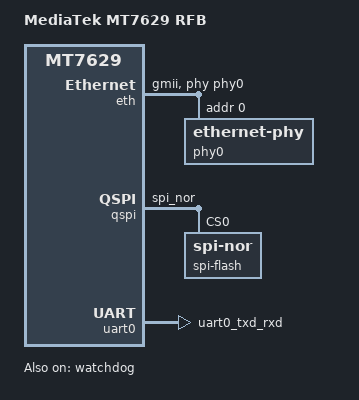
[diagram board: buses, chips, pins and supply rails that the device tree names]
/*
 * Copyright (C) 2018 MediaTek Inc.
 * Author: Ryder Lee <ryder.lee@mediatek.com>
 *
 * SPDX-License-Identifier: (GPL-2.0 OR MIT)
 */

/dts-v1/;
#include "mt7629.dtsi"

/ {
	model = "MediaTek MT7629 RFB";
	compatible = "mediatek,mt7629-rfb", "mediatek,mt7629";

	aliases {
		spi0 = &qspi;
	};

	chosen {
		stdout-path = &uart0;
		tick-timer = &timer0;
	};
};

&eth {
	status = "okay";
	mediatek,gmac-id = <1>;
	phy-mode = "gmii";
	phy-handle = <&phy0>;

	phy0: ethernet-phy@0 {
		reg = <0>;
	};
};

&pinctrl {
	qspi_pins: qspi-pins {
		mux {
			function = "flash";
			groups = "spi_nor";
		};
	};

	uart0_pins: uart0-default {
		mux {
			function = "uart";
			groups = "uart0_txd_rxd";
		};
	};

	watchdog_pins: watchdog-default {
		mux {
			function = "watchdog";
			groups = "watchdog";
		};
	};
};

&qspi {
	pinctrl-names = "default";
	pinctrl-0 = <&qspi_pins>;
	status = "okay";

	spi-flash@0{
		compatible = "jedec,spi-nor";
		reg = <0>;
		u-boot,dm-pre-reloc;
	};
};

&uart0 {
	pinctrl-names = "default";
	pinctrl-0 = <&uart0_pins>;
	status = "okay";
};

&watchdog {
	pinctrl-names = "default";
	pinctrl-0 = <&watchdog_pins>;
	status = "okay";
};
